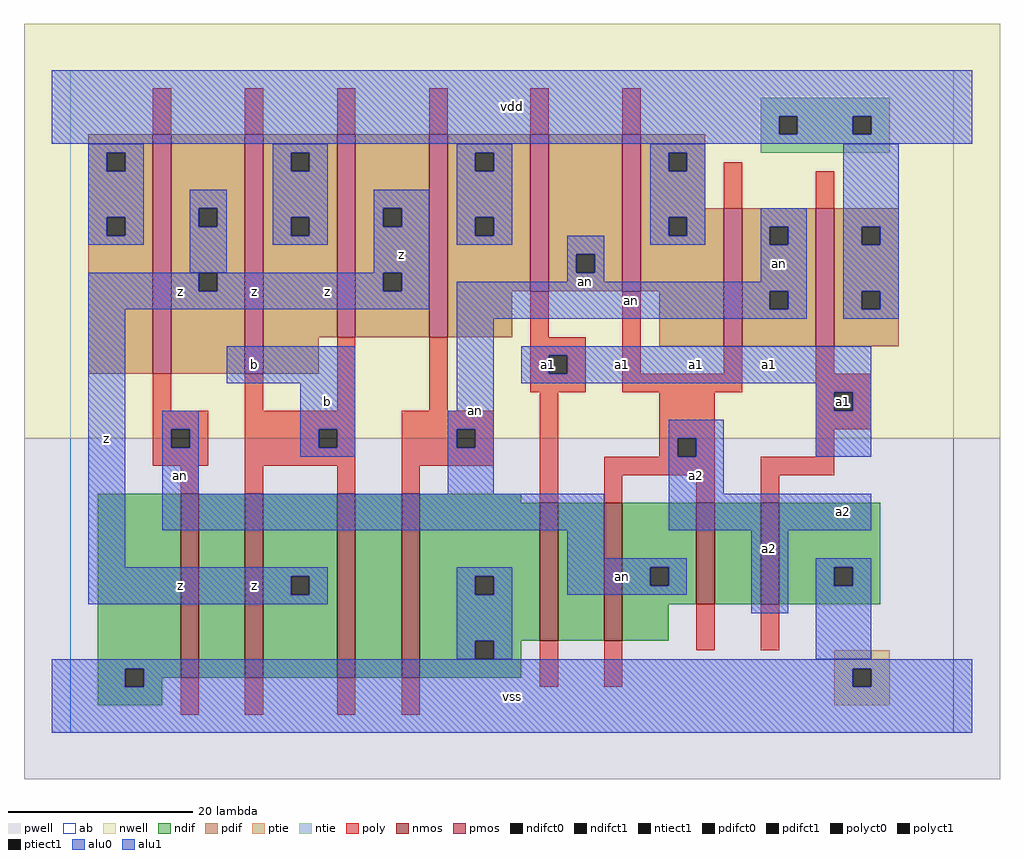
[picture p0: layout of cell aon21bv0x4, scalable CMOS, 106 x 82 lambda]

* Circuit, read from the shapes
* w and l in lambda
.subckt aon21bv0x4 a1 a2 an b vdd vss z
M1 n1 an vss vss nfet w=20 l=2
M2 z b n1 vss nfet w=20 l=2
M3 n2 b z vss nfet w=20 l=2
M4 vss an n2 vss nfet w=20 l=2
M5 n3 a1 vss vss nfet w=15 l=2
M6 an a2 n3 vss nfet w=15 l=2
M7 n4 a2 an vss nfet w=11 l=2
M8 vss a1 n4 vss nfet w=11 l=2
M9 z an vdd vdd pfet w=26 l=2
M10 vdd b z vdd pfet w=26 l=2
M11 z b vdd vdd pfet w=22 l=2
M12 vdd an z vdd pfet w=22 l=2
M13 an a1 vdd vdd pfet w=17 l=2
M14 vdd a2 an vdd pfet w=17 l=2
M15 an a2 vdd vdd pfet w=15 l=2
M16 vdd a1 an vdd pfet w=15 l=2
.ends

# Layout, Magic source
magic
tech scmos
<< ab >>
rect 0 0 96 72
<< nwell >>
rect -5 32 101 77
<< pwell >>
rect -5 -5 101 32
<< poly >>
rect 9 65 11 70
rect 19 65 21 70
rect 29 65 31 70
rect 39 65 41 70
rect 50 65 52 70
rect 60 65 62 70
rect 71 57 73 62
rect 81 57 83 61
rect 50 43 52 48
rect 9 35 11 39
rect 19 35 21 39
rect 29 35 31 43
rect 39 35 41 43
rect 50 41 56 43
rect 50 39 52 41
rect 54 39 56 41
rect 50 37 56 39
rect 60 39 62 48
rect 71 39 73 42
rect 60 37 73 39
rect 81 39 83 42
rect 81 37 87 39
rect 9 33 15 35
rect 9 31 11 33
rect 13 31 15 33
rect 9 29 15 31
rect 19 33 31 35
rect 19 31 27 33
rect 29 31 31 33
rect 19 29 31 31
rect 12 26 14 29
rect 19 26 21 29
rect 29 26 31 29
rect 36 33 46 35
rect 36 31 42 33
rect 44 31 46 33
rect 36 29 46 31
rect 36 26 38 29
rect 51 25 53 37
rect 64 32 70 37
rect 64 30 66 32
rect 68 30 70 32
rect 81 35 83 37
rect 85 35 87 37
rect 81 33 87 35
rect 81 30 83 33
rect 58 28 70 30
rect 58 25 60 28
rect 68 25 70 28
rect 75 28 83 30
rect 75 25 77 28
rect 12 2 14 6
rect 19 2 21 6
rect 29 2 31 6
rect 36 2 38 6
rect 51 5 53 10
rect 58 5 60 10
rect 68 9 70 14
rect 75 9 77 14
<< ndif >>
rect 3 7 12 26
rect 3 5 6 7
rect 8 6 12 7
rect 14 6 19 26
rect 21 17 29 26
rect 21 15 24 17
rect 26 15 29 17
rect 21 6 29 15
rect 31 6 36 26
rect 38 25 49 26
rect 38 17 51 25
rect 38 15 44 17
rect 46 15 51 17
rect 38 10 51 15
rect 53 10 58 25
rect 60 18 68 25
rect 60 16 63 18
rect 65 16 68 18
rect 60 14 68 16
rect 70 14 75 25
rect 77 18 88 25
rect 77 16 83 18
rect 85 16 88 18
rect 77 14 88 16
rect 60 10 65 14
rect 38 8 44 10
rect 46 8 49 10
rect 38 6 49 8
rect 8 5 10 6
rect 3 3 10 5
<< pdif >>
rect 2 63 9 65
rect 2 61 4 63
rect 6 61 9 63
rect 2 56 9 61
rect 2 54 4 56
rect 6 54 9 56
rect 2 39 9 54
rect 11 57 19 65
rect 11 55 14 57
rect 16 55 19 57
rect 11 50 19 55
rect 11 48 14 50
rect 16 48 19 50
rect 11 39 19 48
rect 21 63 29 65
rect 21 61 24 63
rect 26 61 29 63
rect 21 56 29 61
rect 21 54 24 56
rect 26 54 29 56
rect 21 43 29 54
rect 31 57 39 65
rect 31 55 34 57
rect 36 55 39 57
rect 31 50 39 55
rect 31 48 34 50
rect 36 48 39 50
rect 31 43 39 48
rect 41 63 50 65
rect 41 61 44 63
rect 46 61 50 63
rect 41 56 50 61
rect 41 54 44 56
rect 46 54 50 56
rect 41 48 50 54
rect 52 52 60 65
rect 52 50 55 52
rect 57 50 60 52
rect 52 48 60 50
rect 62 63 69 65
rect 62 61 65 63
rect 67 61 69 63
rect 62 57 69 61
rect 62 56 71 57
rect 62 54 65 56
rect 67 54 71 56
rect 62 48 71 54
rect 41 43 48 48
rect 21 39 27 43
rect 64 42 71 48
rect 73 55 81 57
rect 73 53 76 55
rect 78 53 81 55
rect 73 48 81 53
rect 73 46 76 48
rect 78 46 81 48
rect 73 42 81 46
rect 83 55 90 57
rect 83 53 86 55
rect 88 53 90 55
rect 83 48 90 53
rect 83 46 86 48
rect 88 46 90 48
rect 83 42 90 46
<< alu1 >>
rect -2 67 98 72
rect -2 65 77 67
rect 79 65 85 67
rect 87 65 98 67
rect -2 64 98 65
rect 33 57 39 59
rect 33 55 34 57
rect 36 55 39 57
rect 33 50 39 55
rect 2 48 14 50
rect 16 48 34 50
rect 36 48 39 50
rect 2 46 39 48
rect 2 18 6 46
rect 17 38 31 42
rect 25 33 31 38
rect 49 41 87 42
rect 49 39 52 41
rect 54 39 87 41
rect 49 38 87 39
rect 25 31 27 33
rect 29 31 31 33
rect 25 30 31 31
rect 81 37 87 38
rect 81 35 83 37
rect 85 35 87 37
rect 65 32 71 34
rect 65 30 66 32
rect 68 30 71 32
rect 81 30 87 35
rect 65 26 71 30
rect 65 22 87 26
rect 2 17 28 18
rect 2 15 24 17
rect 26 15 28 17
rect 2 14 28 15
rect 74 13 78 22
rect -2 7 98 8
rect -2 5 6 7
rect 8 5 85 7
rect 87 5 98 7
rect -2 0 98 5
<< ptie >>
rect 83 7 89 9
rect 83 5 85 7
rect 87 5 89 7
rect 83 3 89 5
<< ntie >>
rect 75 67 89 69
rect 75 65 77 67
rect 79 65 85 67
rect 87 65 89 67
rect 75 63 89 65
<< nmos >>
rect 12 6 14 26
rect 19 6 21 26
rect 29 6 31 26
rect 36 6 38 26
rect 51 10 53 25
rect 58 10 60 25
rect 68 14 70 25
rect 75 14 77 25
<< pmos >>
rect 9 39 11 65
rect 19 39 21 65
rect 29 43 31 65
rect 39 43 41 65
rect 50 48 52 65
rect 60 48 62 65
rect 71 42 73 57
rect 81 42 83 57
<< polyct0 >>
rect 11 31 13 33
rect 42 31 44 33
<< polyct1 >>
rect 52 39 54 41
rect 27 31 29 33
rect 66 30 68 32
rect 83 35 85 37
<< ndifct0 >>
rect 44 15 46 17
rect 63 16 65 18
rect 83 16 85 18
rect 44 8 46 10
<< ndifct1 >>
rect 6 5 8 7
rect 24 15 26 17
<< ntiect1 >>
rect 77 65 79 67
rect 85 65 87 67
<< ptiect1 >>
rect 85 5 87 7
<< pdifct0 >>
rect 4 61 6 63
rect 4 54 6 56
rect 14 55 16 57
rect 24 61 26 63
rect 24 54 26 56
rect 44 61 46 63
rect 44 54 46 56
rect 55 50 57 52
rect 65 61 67 63
rect 65 54 67 56
rect 76 53 78 55
rect 76 46 78 48
rect 86 53 88 55
rect 86 46 88 48
<< pdifct1 >>
rect 14 48 16 50
rect 34 55 36 57
rect 34 48 36 50
<< alu0 >>
rect 2 63 8 64
rect 2 61 4 63
rect 6 61 8 63
rect 2 56 8 61
rect 22 63 28 64
rect 22 61 24 63
rect 26 61 28 63
rect 2 54 4 56
rect 6 54 8 56
rect 2 53 8 54
rect 13 57 17 59
rect 13 55 14 57
rect 16 55 17 57
rect 13 50 17 55
rect 22 56 28 61
rect 42 63 48 64
rect 42 61 44 63
rect 46 61 48 63
rect 22 54 24 56
rect 26 54 28 56
rect 22 53 28 54
rect 42 56 48 61
rect 42 54 44 56
rect 46 54 48 56
rect 63 63 69 64
rect 63 61 65 63
rect 67 61 69 63
rect 63 56 69 61
rect 63 54 65 56
rect 67 54 69 56
rect 42 53 48 54
rect 54 52 58 54
rect 63 53 69 54
rect 75 55 80 57
rect 75 53 76 55
rect 78 53 80 55
rect 54 50 55 52
rect 57 50 58 52
rect 54 49 58 50
rect 75 49 80 53
rect 42 48 80 49
rect 42 46 76 48
rect 78 46 80 48
rect 42 45 80 46
rect 84 55 90 64
rect 84 53 86 55
rect 88 53 90 55
rect 84 48 90 53
rect 84 46 86 48
rect 88 46 90 48
rect 84 45 90 46
rect 10 33 14 35
rect 10 31 11 33
rect 13 31 14 33
rect 10 26 14 31
rect 42 35 46 45
rect 41 33 46 35
rect 41 31 42 33
rect 44 31 46 33
rect 41 26 46 31
rect 10 22 58 26
rect 54 19 58 22
rect 54 18 67 19
rect 42 17 48 18
rect 42 15 44 17
rect 46 15 48 17
rect 54 16 63 18
rect 65 16 67 18
rect 54 15 67 16
rect 42 10 48 15
rect 81 18 87 19
rect 81 16 83 18
rect 85 16 87 18
rect 42 8 44 10
rect 46 8 48 10
rect 81 8 87 16
<< labels >>
rlabel alu0 12 28 12 28 6 an
rlabel alu0 60 17 60 17 6 an
rlabel alu0 44 35 44 35 6 an
rlabel alu0 56 49 56 49 6 an
rlabel alu0 61 47 61 47 6 an
rlabel alu0 77 51 77 51 6 an
rlabel alu1 12 16 12 16 6 z
rlabel alu1 20 16 20 16 6 z
rlabel alu1 4 32 4 32 6 z
rlabel alu1 20 40 20 40 6 b
rlabel alu1 20 48 20 48 6 z
rlabel alu1 12 48 12 48 6 z
rlabel alu1 28 36 28 36 6 b
rlabel alu1 36 52 36 52 6 z
rlabel alu1 28 48 28 48 6 z
rlabel alu1 48 4 48 4 6 vss
rlabel alu1 68 28 68 28 6 a2
rlabel alu1 60 40 60 40 6 a1
rlabel alu1 68 40 68 40 6 a1
rlabel alu1 52 40 52 40 6 a1
rlabel alu1 48 68 48 68 6 vdd
rlabel alu1 76 20 76 20 6 a2
rlabel alu1 84 24 84 24 6 a2
rlabel polyct1 84 36 84 36 6 a1
rlabel alu1 76 40 76 40 6 a1
<< end >>
